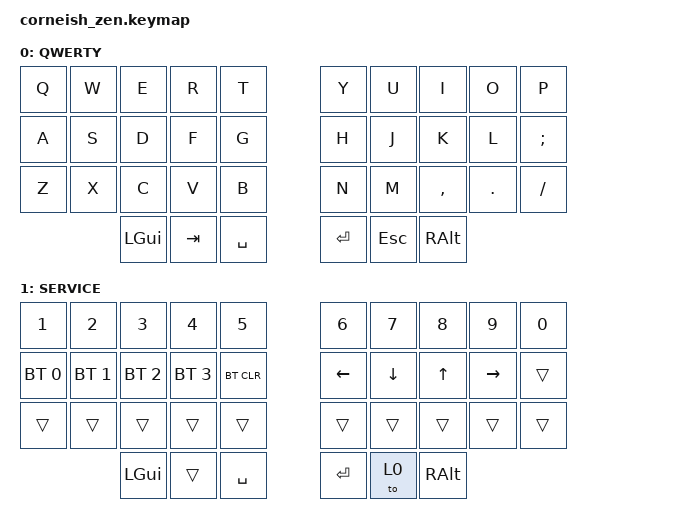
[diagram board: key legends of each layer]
#include <behaviors.dtsi>
#include <dt-bindings/zmk/keys.h>
#include <dt-bindings/zmk/bt.h>

/ {
    chosen {
        // zmk,physical-layout = &foostan_corne_6col_layout;
        zmk,physical-layout = &foostan_corne_5col_layout;
    };
};

/ {
    combos {
      compatible = "zmk,combos";

      combo_enter_service {
        timeout-ms = <50>;
        layers = <0>;                 /* only works on base layer */
        key-positions = <0 9 20 29>;  /* Q + P + Z + / (very hard to hit accidentally) */
        bindings = <&to 1>;           /* jump to SERVICE (your 2nd layer) */
      };
      combo_exit_service {
        timeout-ms = <60>;
        layers = <1>;
        key-positions = <30 35>; /* e.g. LGUI + RALT thumbs */
        bindings = <&to 0>;
      };
    };
    keymap {
        compatible = "zmk,keymap";
        default_layer {
            display-name = "QWERTY";
// --------------------------------------------------------------------------------
// |  Q  |  W  |  E  |  R  |  T  |   |  Y  |  U   |  I  |  O  |  P  |
// |  A  |  S  |  D  |  F  |  G  |   |  H  |  J   |  K  |  L  |  ;  |
// |  Z  |  X  |  C  |  V  |  B  |   |  N  |  M   |  ,  |  .  |  /  |
//             | GUI | TAB | SPC |   | ENT | RSE  | ALT |
            bindings = <
&kp Q &kp W &kp E    &kp R   &kp T       &kp Y   &kp U    &kp I     &kp O   &kp P
&kp A &kp S &kp D    &kp F   &kp G       &kp H   &kp J    &kp K     &kp L   &kp SEMI
&kp Z &kp X &kp C    &kp V   &kp B       &kp N   &kp M    &kp COMMA &kp DOT &kp FSLH
            &kp LGUI &kp TAB &kp SPACE   &kp RET &kp ESC  &kp RALT
            >;
        };
        lower_layer {
            display-name = "SERVICE";
// -----------------------------------------------------------------------------------------
// |  1  |  2  |  3  |  4  |  5  |   |  6  |  7  |  8  |  9  |  0  |
// | BT1 | BT2 | BT3 | BT4 | BT5 |   | LFT | DWN |  UP | RGT |     |
// |     |     |     |     |     |   |     |     |     |     |     |
//             | GUI |     | SPC |   | ENT |     | ALT |
            bindings = <
&kp N1       &kp N2       &kp N3       &kp N4       &kp N5         &kp N6   &kp N7   &kp N8 &kp N9    &kp N0
&bt BT_SEL 0 &bt BT_SEL 1 &bt BT_SEL 2 &bt BT_SEL 3 &bt BT_CLR     &kp LEFT &kp DOWN &kp UP &kp RIGHT &trans
&trans       &trans       &trans       &trans       &trans         &trans   &trans   &trans &trans    &trans
                          &kp LGUI     &trans       &kp SPACE      &kp RET  &to 0   &kp RALT
            >;
        };
    };
};
